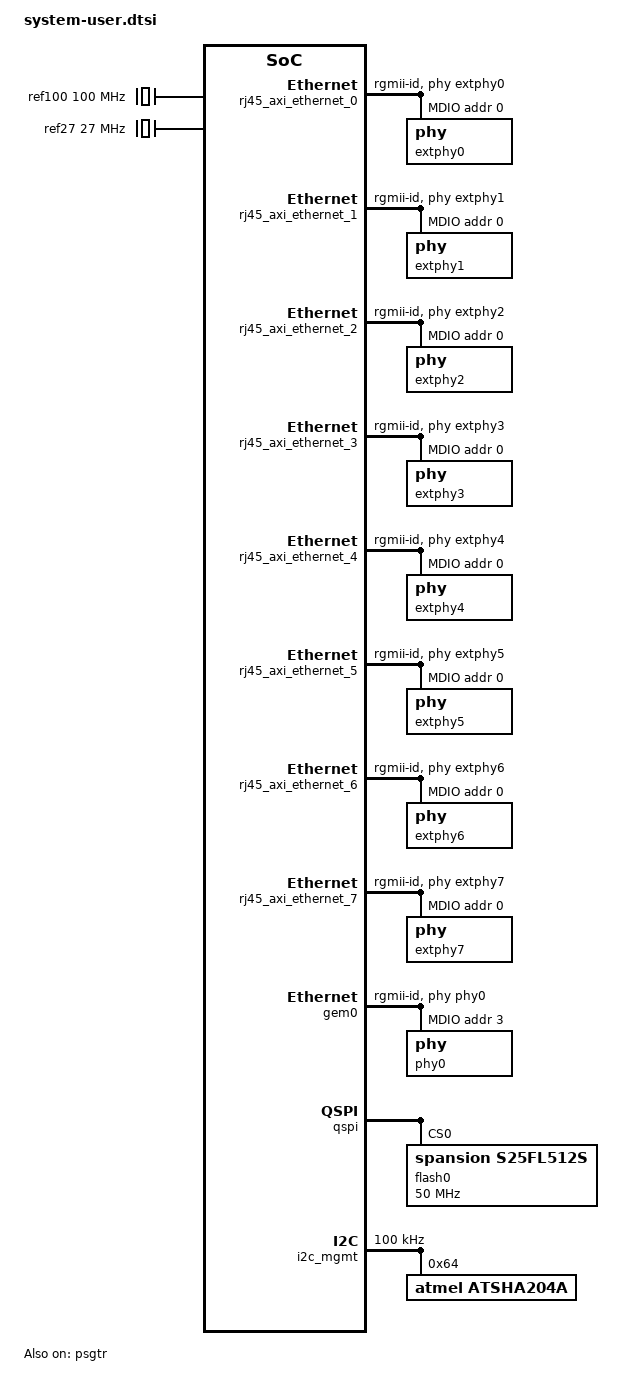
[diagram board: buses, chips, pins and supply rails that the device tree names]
/ {
	aliases {
		ethernet0 = &gem0;
      // GEM3 disabled due to issue with SFP0 link negotiation
		//ethernet1 = &gem3;
		i2c0 = &i2c_mgmt;
		i2c1 = &i2c_user;
		serial0 = &uart0;
		spi0 = &qspi;
	};

   chosen {
		bootargs = "earlycon clk_ignore_unused cpuidle.off=1 net.ifnames=0";
		stdout-path = "serial0:115200n8";
	};
};

&rj45_axi_ethernet_0 {  
	/delete-property/ xlnx,phy-type;
        //local-mac-address = [00 0a 35 00 01 22];  
        phy-handle = <&extphy0>;  
        xlnx,has-mdio = <0x1>;  
        phy-mode = "rgmii-id";  
        mdio {  
            #address-cells = <1>;  
            #size-cells = <0>;  
            extphy0: phy@0 {  
                device_type = "ethernet-phy";  
                reg = <0>;  
		/*
	        * modify PHY registers to:
	        * Reg 3_16
	        * LED[1] bits [7:4] = ON=link, BLINK=activity, OFF=no activity
	        * LED[0] bits [3:0] = link speed detect (3 blinks= 1Gbps, 2 blinks = 100Mbps, 1 blink = 10Mbps)
	        * Reg 3_17
	        * LED[1:0] = ON-drive low, OFF-high
	        * Reg 3_18
	        * LED[0] bits [3:2] = link speed LED blink off period = 170ms
	        * LED[0] bits [1:0] = link speed LED blink on period = 340ms
	        */
	        marvell,reg-init = <3 16 0xff00 0x42>, <3 17 0xfff0 0x0>, <3 18 0xfff0 0x6>;
	   };  
        };  
};  

&rj45_axi_ethernet_1 {  
	/delete-property/ xlnx,phy-type;
        //local-mac-address = [00 0a 35 00 01 22];  
        phy-handle = <&extphy1>;  
        xlnx,has-mdio = <0x1>;  
        phy-mode = "rgmii-id";  
        mdio {  
            #address-cells = <1>;  
            #size-cells = <0>;  
            extphy1: phy@0 {  
                device_type = "ethernet-phy";  
                reg = <0>;  
	        marvell,reg-init = <3 16 0xff00 0x42>, <3 17 0xfff0 0x0>, <3 18 0xfff0 0x6>;
            };  
        };  
};  

&rj45_axi_ethernet_2 {  
	/delete-property/ xlnx,phy-type;
        //local-mac-address = [00 0a 35 00 01 22];  
        phy-handle = <&extphy2>;  
        xlnx,has-mdio = <0x1>;  
        phy-mode = "rgmii-id";  
        mdio {  
            #address-cells = <1>;  
            #size-cells = <0>;  
            extphy2: phy@0 {  
                device_type = "ethernet-phy";  
                reg = <0>;  
	        marvell,reg-init = <3 16 0xff00 0x42>, <3 17 0xfff0 0x0>, <3 18 0xfff0 0x6>;
            };  
        };  
};  

&rj45_axi_ethernet_3 {  
	/delete-property/ xlnx,phy-type;
        //local-mac-address = [00 0a 35 00 01 22];  
        phy-handle = <&extphy3>;  
        xlnx,has-mdio = <0x1>;  
        phy-mode = "rgmii-id";  
        mdio {  
            #address-cells = <1>;  
            #size-cells = <0>;  
            extphy3: phy@0 {  
                device_type = "ethernet-phy";  
                reg = <0>;  
	        marvell,reg-init = <3 16 0xff00 0x42>, <3 17 0xfff0 0x0>, <3 18 0xfff0 0x6>;
            };  
        };  
};  

&rj45_axi_ethernet_4 {  
	/delete-property/ xlnx,phy-type;
        //local-mac-address = [00 0a 35 00 01 22];  
        phy-handle = <&extphy4>;  
        xlnx,has-mdio = <0x1>;  
        phy-mode = "rgmii-id";  
        mdio {  
            #address-cells = <1>;  
            #size-cells = <0>;  
            extphy4: phy@0 {  
                device_type = "ethernet-phy";  
                reg = <0>;  
	        marvell,reg-init = <3 16 0xff00 0x42>, <3 17 0xfff0 0x0>, <3 18 0xfff0 0x6>;
            };  
        };  
};  

&rj45_axi_ethernet_5 {  
	/delete-property/ xlnx,phy-type;
        //local-mac-address = [00 0a 35 00 01 22];  
        phy-handle = <&extphy5>;  
        xlnx,has-mdio = <0x1>;  
        phy-mode = "rgmii-id";  
        mdio {  
            #address-cells = <1>;  
            #size-cells = <0>;  
            extphy5: phy@0 {  
                device_type = "ethernet-phy";  
                reg = <0>;  
	        marvell,reg-init = <3 16 0xff00 0x42>, <3 17 0xfff0 0x0>, <3 18 0xfff0 0x6>;
            };  
        };  
};  

&rj45_axi_ethernet_6 {  
	/delete-property/ xlnx,phy-type;
        //local-mac-address = [00 0a 35 00 01 22];  
        phy-handle = <&extphy6>;  
        xlnx,has-mdio = <0x1>;  
        phy-mode = "rgmii-id";  
        mdio {  
            #address-cells = <1>;  
            #size-cells = <0>;  
            extphy6: phy@0 {  
                device_type = "ethernet-phy";  
                reg = <0>;  
	        marvell,reg-init = <3 16 0xff00 0x42>, <3 17 0xfff0 0x0>, <3 18 0xfff0 0x6>;
            };  
        };  
};  

&rj45_axi_ethernet_7 {  
	/delete-property/ xlnx,phy-type;
        //local-mac-address = [00 0a 35 00 01 22];  
        phy-handle = <&extphy7>;  
        xlnx,has-mdio = <0x1>;  
        phy-mode = "rgmii-id";  
        mdio {  
            #address-cells = <1>;  
            #size-cells = <0>;  
            extphy7: phy@0 {  
                device_type = "ethernet-phy";  
                reg = <0>;  
	        marvell,reg-init = <3 16 0xff00 0x42>, <3 17 0xfff0 0x0>, <3 18 0xfff0 0x6>;
            };  
        };  
};  

&gem0 {
	status = "okay";
	phy-mode = "rgmii-id";
	phy-handle = <&phy0>;

	mdio {
		phy0: phy@3 {
			reg = <3>;
			txc-skew-ps = <1800>;
			txen-skew-ps = <420>;

			txd0-skew-ps = <420>;
			txd1-skew-ps = <420>;
			txd2-skew-ps = <420>;
			txd3-skew-ps = <420>;

			rxc-skew-ps = <900>;
			rxdv-skew-ps = <420>;

			rxd0-skew-ps = <420>;
			rxd1-skew-ps = <420>;
			rxd2-skew-ps = <420>;
			rxd3-skew-ps = <420>;		
		};

      // GEM3 disabled due to issue with SFP0 link negotiation
      /*
		phy1: phy@7 {
			reg = <7>;

			txc-skew-ps = <1800>;
			txen-skew-ps = <420>;

			txd0-skew-ps = <420>;
			txd1-skew-ps = <420>;
			txd2-skew-ps = <420>;
			txd3-skew-ps = <420>;

			rxc-skew-ps = <900>;
			rxdv-skew-ps = <420>;

			rxd0-skew-ps = <420>;
			rxd1-skew-ps = <420>;
			rxd2-skew-ps = <420>;
			rxd3-skew-ps = <420>;		
		};
      */
	};
};

// GEM3 disabled due to issue with SFP0 link negotiation
&gem3 {
	status = "disabled";
	//phy-handle = <&phy1>;
	//phy-mode = "rgmii-id";
};

&qspi {
	status = "okay";
	#address-cells = <1>;
	#size-cells = <0>;
	is-dual = <0>;
	num-cs = <1>;
	flash0: flash@0 {
		reg = <0x0>;
		compatible = "spansion,s25fl512s", "jedec,spi-nor";
		spi-rx-bus-width = <0x4>;
		spi-tx-bus-width = <0x4>;
		spi-max-frequency = <50000000>;
		#address-cells = <1>;
		#size-cells = <1>;
	};
};

&psgtr {
	status = "okay";
	clocks = <&ref100>, <&ref27>;
	clock-names = "ref2", "ref3";
};

&amba {
	ref100: ref100M {
		compatible = "fixed-clock";
		#clock-cells = <0>;
		clock-frequency = <100000000>;
	};
	ref27: ref27M {
		compatible = "fixed-clock";
		#clock-cells = <0>;
		clock-frequency = <27000000>;
	};
	i2c_mgmt: i2c@ff020000 {
		status = "okay";
		clock-frequency = <100000>;
		atsha204a@64 {
			status = "okay";
			compatible = "atmel,atsha204a", "atmel,atsha204-i2c";
			reg = <0x64>;
		};
	};
	i2c_user: i2c@ff030000 {};
};

&A4LITE_00 {
   compatible = "generic-uio";
};
